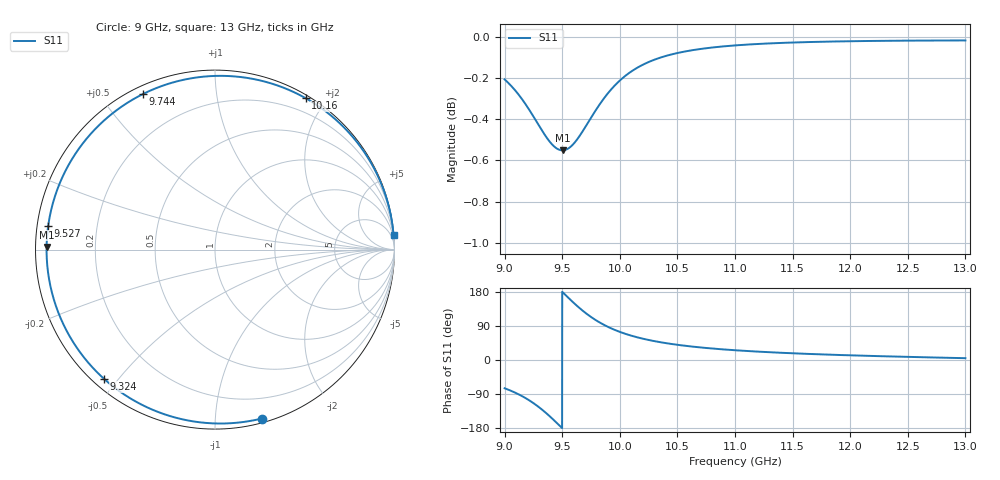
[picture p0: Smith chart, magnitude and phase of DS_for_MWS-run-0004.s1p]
! TOUCHSTONE file generated by CST DESIGN STUDIO
! Date and time: Tue Feb  4 12:54:59 2025
! Project name: C:\Work\MatlabApps\UnitCellOptimizationMatlab\CST\unitcell.cst
! Tree item: Tasks\Sweep1\SPara1\S-Parameters
! Header version: 2024
! Port assignment regex: !\s*Touchstone port\s*([0-9]+)\s*=\s*(CST MWS port|CST DES external port|CST DES block port)\s*(.+)\s* \(\"(.*)\"\)(\s*mode\s*([0-9]+))?.*
! Touchstone port assignment:
! Touchstone port 1 = CST DES external port 1 ("")
# GHz S MA R 50
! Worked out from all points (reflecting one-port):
!   4001 points, 9 GHz to 13 GHz, reference 50 ohm
!   lowest |S11| = -0.6 dB at 9.503 GHz (marker M1), VSWR 31.52, Z = 1.59 + j0.401 ohm
!   phase of S11 starts at -75 deg and turns -281 deg over the sweep
!   S11 on the Smith chart (normalised r, x): 9 GHz: 0.03, -1.31; 9.324 GHz: 0.03, -0.46; 9.527 GHz: 0.03, +0.07; 9.744 GHz: 0.03, +0.64; 10.16 GHz: 0.03, +1.76; 13 GHz: 1, +24
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9  0.9765 -74.6
9.085  0.971 -85.2
9.187  0.9626 -101.5
9.258  0.9557 -115.5
9.324  0.949 -130.7
9.371  0.9447 -142.8
9.42  0.9411 -156.5
9.461  0.9392 -168.4
9.5  0.9385 180.0
9.503  0.9385 179.1
9.527  0.9387 171.9
9.58  0.9408 156.4
9.64  0.9451 139.8
9.691  0.9499 126.9
9.744  0.9552 114.8
9.796  0.9603 104.3
9.854  0.9655 94.1
9.926  0.9711 83.4
10  0.9759 74.2
10.161  0.9833 59.1
10.315  0.9877 48.9
10.5  0.991 40.1
10.722  0.9935 32.5
11  0.9953 25.8
11.5  0.9969 17.7
12  0.9976 12.3
12.5  0.9979 8.2
13  0.998 4.8
